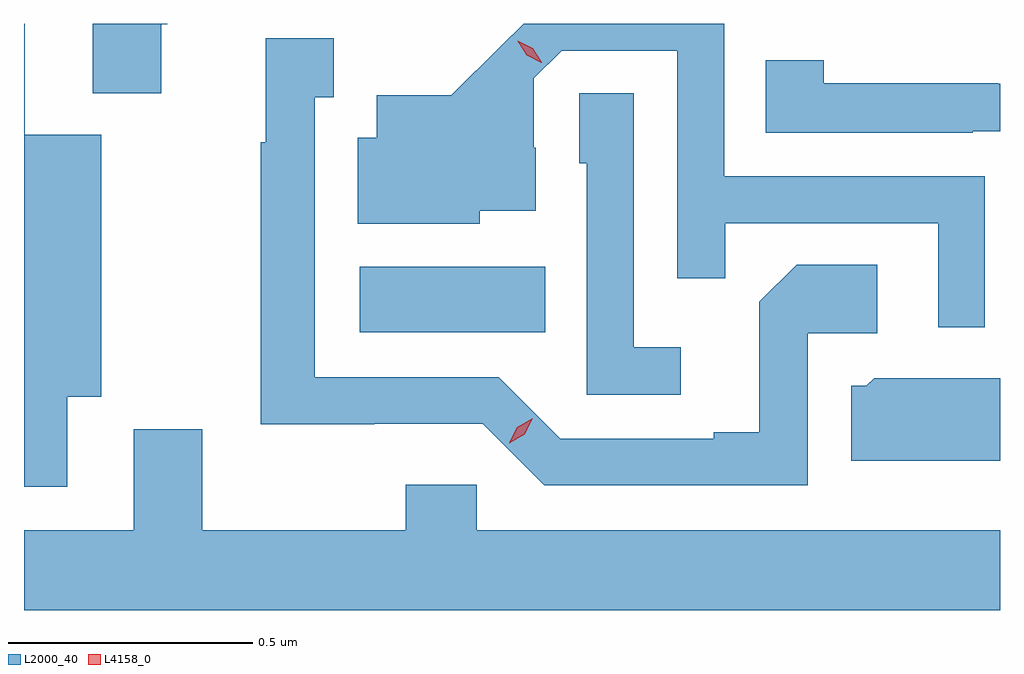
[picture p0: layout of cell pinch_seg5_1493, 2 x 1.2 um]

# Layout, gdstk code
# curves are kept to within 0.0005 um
import gdstk
lib = gdstk.Library(unit=1e-6, precision=1e-09)
def R(c, l, rs):  # rectangles x0, y0, x1, y1
    for r in rs: c.add(gdstk.rectangle(r[:2], r[2:], *l))
def P(c, l, *ps):  # polygons
    for p in ps: c.add(gdstk.Polygon(p, *l))
L2000_40 = (2000, 40)
L4158_0 = (4158, 0)

pinch_seg5_1493 = lib.new_cell('pinch_seg5_1493')
R(pinch_seg5_1493, L2000_40, [(169.122,886.634,169.502,886.768)])
P(pinch_seg5_1493, L2000_40, [(168.715,887.265),(168.728,887.265),(168.728,887.266),(168.575,887.266),(168.575,887.123),(168.715,887.123)],
  [(168.523,886.502),(168.592,886.502),(168.592,887.038),(168.436,887.038),(168.436,887.266),(168.434,887.266),(168.434,886.317),(168.523,886.317)],
  [(170.403,886.953),(169.869,886.953),(169.869,887.266),(169.458,887.266),(169.309,887.119),(169.157,887.119),(169.157,887.032),(169.118,887.032),(169.118,886.856),(169.368,886.856),(169.368,886.883),(169.483,886.883),(169.483,887.012),(169.479,887.012),(169.479,887.154),(169.536,887.211),(169.773,887.211),(169.773,886.744),(169.871,886.744),(169.871,886.857),(170.307,886.857),(170.307,886.644),(170.403,886.644)],
  [(170.04,886.632),(170.182,886.632),(170.182,886.772),(170.017,886.772),(169.941,886.696),(169.941,886.429),(169.847,886.429),(169.847,886.416),(169.533,886.416),(169.407,886.542),(169.03,886.542),(169.03,887.115),(169.069,887.115),(169.069,887.236),(168.929,887.236),(168.929,887.023),(168.919,887.023),(168.919,886.445),(169.152,886.445),(169.152,886.446),(169.374,886.446),(169.5,886.32),(170.04,886.32)],
  [(170.378,887.046),(170.434,887.046),(170.434,887.143),(170.429,887.143),(170.429,887.144),(170.073,887.144),(170.073,887.191),(169.954,887.191),(169.954,887.043),(170.378,887.043)],
  [(169.78,886.603),(169.683,886.603),(169.683,887.123),(169.572,887.123),(169.572,886.98),(169.587,886.98),(169.587,886.506),(169.78,886.506)],
  [(170.434,886.54),(170.433,886.539),(170.31,886.539),(170.31,886.54),(170.176,886.54),(170.16,886.524),(170.129,886.524),(170.129,886.37),(170.434,886.37)],
  [(170.434,886.228),(169.362,886.228),(169.362,886.321),(169.216,886.321),(169.216,886.228),(168.799,886.228),(168.799,886.435),(168.659,886.435),(168.659,886.228),(168.434,886.228),(168.434,886.064),(170.434,886.064)])
P(pinch_seg5_1493, L4158_0, [(169.428,886.406),(169.428,886.407),(169.445,886.439),(169.477,886.458),(169.477,886.458),(169.477,886.458),(169.46,886.425),(169.428,886.406)],
  [(169.494,887.186),(169.464,887.201),(169.446,887.23),(169.446,887.231),(169.446,887.231),(169.477,887.216),(169.495,887.187),(169.495,887.186)])

lib.write_gds('pinch_seg5_1493.gds')
